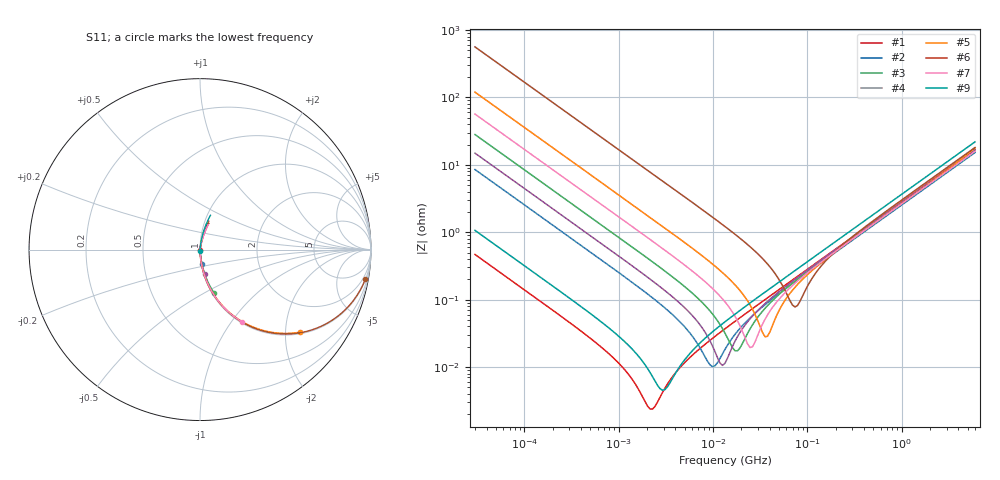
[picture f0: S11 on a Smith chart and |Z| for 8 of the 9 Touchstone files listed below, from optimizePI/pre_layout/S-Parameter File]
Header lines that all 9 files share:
!These Parameters are Measured in Series Mode Connection
!  o--ll--o
!Port1  Port2
!  o------o
!Operation Temp=25[C], DC Bias Voltage=0[V]
!Freq. Start=30[kHz] Stop=6[GHz], 201[Steps]
# Hz S DB R 50
!Freq.[Hz] MagS11[dB] PhaseS11[DEG] MagS21[dB] PhaseS21[DEG] MagS12[dB] PhaseS12[DEG] MagS22[dB] PhaseS22[DEG]
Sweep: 30 kHz to 6 GHz
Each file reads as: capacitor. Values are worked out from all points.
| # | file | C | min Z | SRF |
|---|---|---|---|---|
| 1 | grm21br60j226me39.s2p | 11.4 uF | 2.38 mohm | 2.247 MHz |
| 2 | grm155r60j105ke19.s2p | 625 nF | 10.1 mohm | 10.08 MHz |
| 3 | grm155r61a224ke19.s2p | 189 nF | 17.4 mohm | 17.79 MHz |
| 4 | grm155r61a474ke15.s2p | 357 nF | 10.6 mohm | 12.75 MHz |
| 5 | grm155r71a473ka01.s2p | 44.4 nF | 28.2 mohm | 36.79 MHz |
| 6 | grm155r71c103ka01.s2p | 9.47 nF | 77.8 mohm | 75.09 MHz |
| 7 | grm155r71c104ka88.s2p | 93.9 nF | 19.4 mohm | 25.5 MHz |
| 8 | grm155r71c223ka01.s2p | 21.2 nF | 43.6 mohm | 51.37 MHz |
| 9 | grm188r60j106me47.s2p | 4.99 uF | 4.52 mohm | 2.964 MHz |
